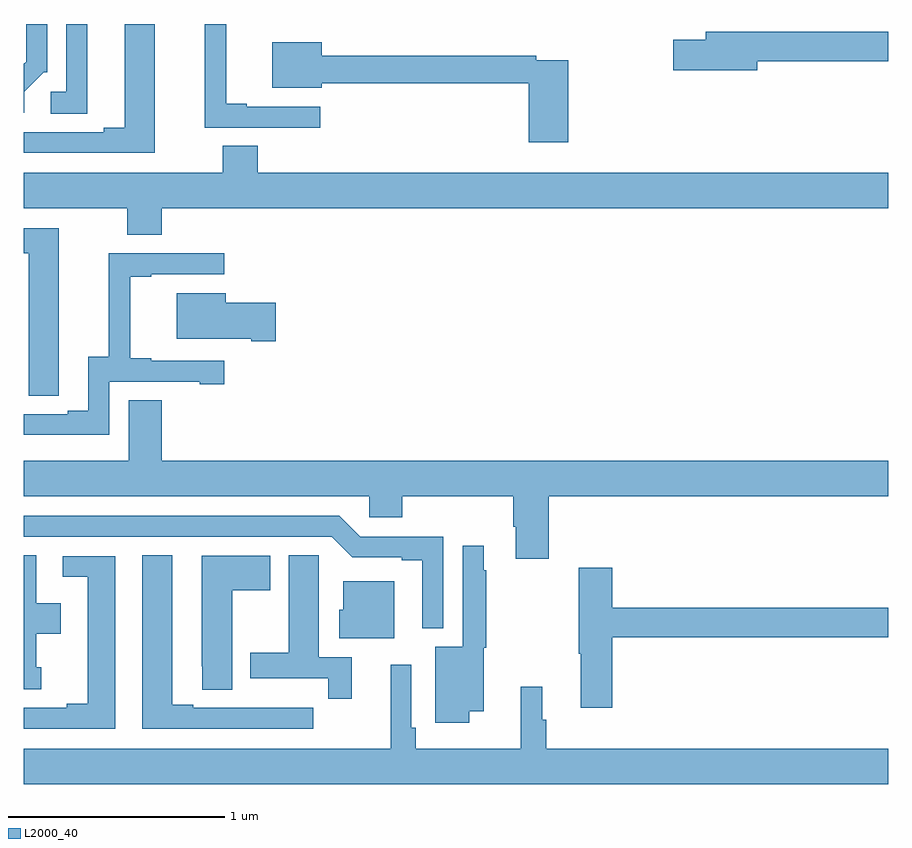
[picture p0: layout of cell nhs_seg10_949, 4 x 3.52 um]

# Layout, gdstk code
import gdstk
lib = gdstk.Library(unit=1e-6, precision=1e-09)
def P(c, l, *ps):  # polygons
    for p in ps: c.add(gdstk.Polygon(p, *l))
L2000_40 = (2000, 40)

nhs_seg10_949 = lib.new_cell('nhs_seg10_949')
P(nhs_seg10_949, L2000_40, [(159.295,1302.5),(159.198,1302.5),(159.198,1302.186),(159.126,1302.186),(159.126,1302.085),(159.295,1302.085)],
  [(160.372,1302.117),(160.033,1302.117),(160.033,1302.13),(159.938,1302.13),(159.938,1302.5),(159.743,1302.5),(159.743,1302.499),(159.838,1302.499),(159.838,1302.021),(160.372,1302.021)],
  [(159.607,1302.5),(159.467,1302.5),(159.467,1302.02),(159.371,1302.02),(159.371,1302),(159,1302),(159,1301.904),(159.607,1301.904)],
  [(159.003,1302.186),(159.093,1302.276),(159.108,1302.276),(159.108,1302.5),(159.011,1302.5),(159.011,1302.326),(159,1302.315),(159,1302.09),(159.003,1302.09)],
  [(162.394,1302.328),(163,1302.328),(163,1302.464),(162.155,1302.464),(162.155,1302.428),(162.006,1302.428),(162.006,1302.286),(162.394,1302.286)],
  [(161.519,1302.333),(161.372,1302.333),(161.372,1302.353),(160.378,1302.353),(160.378,1302.415),(160.151,1302.415),(160.151,1302.206),(160.378,1302.206),(160.378,1302.225),(161.336,1302.225),(161.336,1301.952),(161.519,1301.952)],
  [(159.638,1301.648),(163,1301.648),(163,1301.812),(160.082,1301.812),(160.082,1301.936),(159.922,1301.936),(159.922,1301.812),(159,1301.812),(159,1301.648),(159.478,1301.648),(159.478,1301.524),(159.638,1301.524)],
  [(159.162,1300.888),(159.163,1300.888),(159.163,1301.556),(159,1301.556),(159,1301.44),(159.023,1301.44),(159.023,1300.78),(159.162,1300.78)],
  [(159.396,1300.845),(159.815,1300.845),(159.815,1300.833),(159.928,1300.833),(159.928,1300.941),(159.589,1300.941),(159.589,1300.954),(159.494,1300.954),(159.494,1301.331),(159.589,1301.331),(159.589,1301.343),(159.928,1301.343),(159.928,1301.439),(159.394,1301.439),(159.394,1300.961),(159.299,1300.961),(159.299,1300.71),(159.203,1300.71),(159.203,1300.695),(159,1300.695),(159,1300.599),(159.396,1300.599)],
  [(160.165,1301.211),(159.934,1301.211),(159.934,1301.254),(159.707,1301.254),(159.707,1301.045),(160.052,1301.045),(160.052,1301.033),(160.165,1301.033)],
  [(161.429,1300.316),(163,1300.316),(163,1300.48),(159.638,1300.48),(159.638,1300.76),(159.485,1300.76),(159.485,1300.48),(159,1300.48),(159,1300.316),(160.599,1300.316),(160.599,1300.218),(160.751,1300.218),(160.751,1300.316),(161.264,1300.316),(161.264,1300.174),(161.276,1300.174),(161.276,1300.026),(161.429,1300.026)],
  [(160.941,1300.128),(160.557,1300.128),(160.461,1300.224),(159,1300.224),(159,1300.128),(160.425,1300.128),(160.521,1300.032),(160.748,1300.032),(160.748,1300.02),(160.844,1300.02),(160.844,1299.704),(160.941,1299.704)],
  [(161.062,1299.32),(161.128,1299.32),(161.128,1299.615),(161.14,1299.615),(161.14,1299.974),(161.128,1299.974),(161.128,1300.087),(161.031,1300.087),(161.031,1299.619),(160.904,1299.619),(160.904,1299.267),(161.062,1299.267)],
  [(160.339,1299.336),(160.226,1299.336),(160.226,1299.337),(160.06,1299.337),(160.06,1299.336),(159.784,1299.336),(159.784,1299.351),(159.688,1299.351),(159.688,1300.043),(159.548,1300.043),(159.548,1299.24),(160.339,1299.24)],
  [(160.517,1299.57),(160.366,1299.57),(160.366,1299.932),(160.365,1299.932),(160.365,1300.043),(160.226,1300.043),(160.226,1299.591),(160.049,1299.591),(160.049,1299.474),(160.408,1299.474),(160.408,1299.378),(160.517,1299.378)],
  [(159.082,1299.525),(159.058,1299.525),(159.058,1299.68),(159.172,1299.68),(159.172,1299.82),(159.058,1299.82),(159.058,1300.043),(159,1300.043),(159,1299.423),(159.082,1299.423)],
  [(159.964,1299.88),(160.141,1299.88),(160.141,1300.039),(159.824,1300.039),(159.824,1299.529),(159.825,1299.529),(159.825,1299.421),(159.964,1299.421)],
  [(159.424,1300.038),(159.18,1300.038),(159.18,1299.942),(159.296,1299.942),(159.296,1299.356),(159.2,1299.356),(159.2,1299.336),(159,1299.336),(159,1299.24),(159.424,1299.24)],
  [(161.723,1299.664),(163,1299.664),(163,1299.8),(161.723,1299.8),(161.723,1299.985),(161.569,1299.985),(161.569,1299.587),(161.576,1299.587),(161.576,1299.336),(161.723,1299.336)],
  [(160.714,1299.922),(160.478,1299.922),(160.478,1299.789),(160.46,1299.789),(160.46,1299.659),(160.714,1299.659)],
  [(163,1299.148),(161.417,1299.148),(161.417,1299.282),(161.398,1299.282),(161.398,1299.433),(161.299,1299.433),(161.299,1299.148),(160.814,1299.148),(160.814,1299.244),(160.794,1299.244),(160.794,1299.535),(160.697,1299.535),(160.697,1299.148),(159,1299.148),(159,1298.984),(163,1298.984)])

lib.write_gds('nhs_seg10_949.gds')
